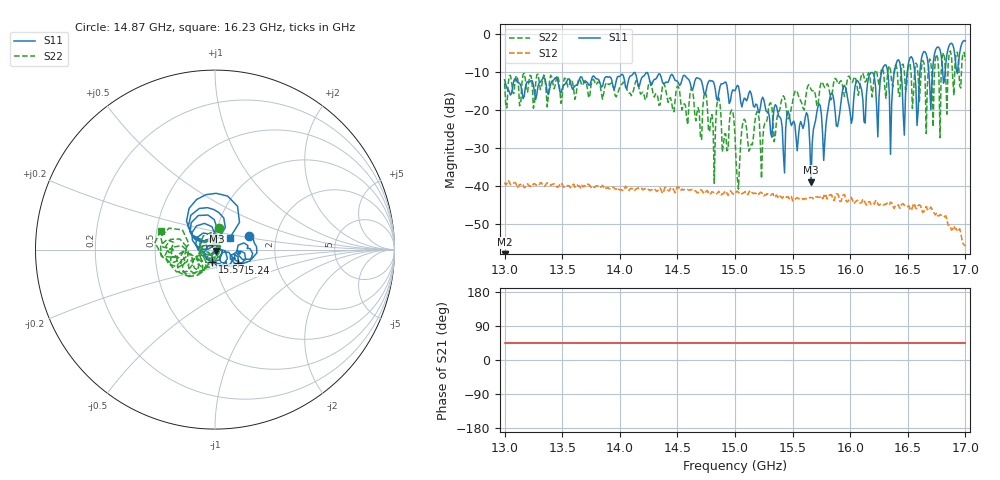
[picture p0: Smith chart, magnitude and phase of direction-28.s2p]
!Keysight Technologies,P9374A,MY57211810,A.19.30.04
!Date: Friday, May 02, 2025 08:59:28
!Correction: S11(Off)
!S21(Off)
!S12(Off)
!S22(Off)
!S2P File: Measurements: S11, S21, S12, S22:
# Hz S  dB  R 50
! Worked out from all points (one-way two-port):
!   401 points, 13 GHz to 17 GHz, reference 50 ohm
!   highest |S21| = - dB at 13 GHz (marker M1); lowest = - dB at 13 GHz (marker M2)
!   lowest |S11| = -39.1 dB at 15.66 GHz (marker M3), VSWR 1.02, Z = 50.8 - j0.819 ohm
!   |S11| at or under -10 dB: start of sweep to 16.27 GHz; 16.32545 GHz to 16.38314 GHz (57.69 MHz wide, 0.353 % of centre); 16.44181 GHz to 16.49561 GHz (53.8 MHz wide, 0.327 % of centre) (the widest 3 of 7)
!   |S22| runs from -40.9 to -4.4 dB; largest |S21 - S12| = 0.012
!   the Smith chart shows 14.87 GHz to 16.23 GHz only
!   S11 on the Smith chart (normalised r, x): 14.87 GHz: 1.44, +0.24; 15.24 GHz: 1.27, -0.20; 15.57 GHz: 0.96, -0.13; 16.23 GHz: 1.17, +0.16
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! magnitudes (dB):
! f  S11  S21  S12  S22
! 13 GHz  -12.1  -  -39.2  -13.0
! 13.67 GHz  -11.3  -  -39.9  -13.5
! 14.34 GHz  -10.4  -  -40.9  -18.8
! 14.87 GHz  -13.8  -  -42.2  -18.4
! 15 GHz  -14.9  -  -42.3  -26.7
! 15.24 GHz  -16.6  -  -42.1  -28.1
! 15.57 GHz  -23.0  -  -43.4  -17.6
! 15.66 GHz  -39.1  -  -43.1  -14.6
! 15.67 GHz  -28.9  -  -43.1  -15.0
! 15.84 GHz  -15.5  -  -42.6  -16.8
! 16.12 GHz  -23.1  -  -43.9  -11.3
! 16.19 GHz  -10.1  -  -45.0  -16.6
! 16.23 GHz  -19.4  -  -43.9  -9.9
! 16.3 GHz  -8.1  -  -44.9  -13.9
! 16.34 GHz  -15.8  -  -45.0  -8.3
! 16.41 GHz  -6.9  -  -45.2  -10.2
! 16.47 GHz  -26.7  -  -45.2  -10.0
! 16.52 GHz  -6.1  -  -46.2  -7.9
! 16.58 GHz  -24.1  -  -46.0  -8.0
! 16.64 GHz  -4.6  -  -46.8  -7.6
! 16.7 GHz  -19.9  -  -45.6  -7.2
! 17 GHz  -1.8  -  -56.0  -6.9
